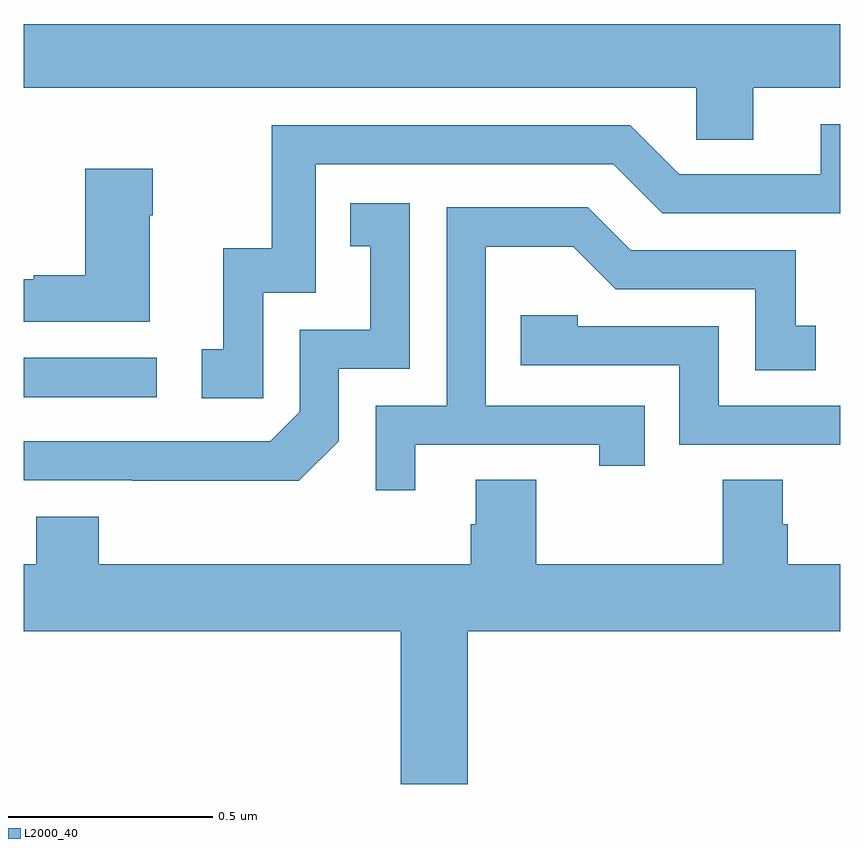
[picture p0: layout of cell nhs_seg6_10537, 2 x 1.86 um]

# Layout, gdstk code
import gdstk
lib = gdstk.Library(unit=1e-6, precision=1e-09)
def R(c, l, rs):  # rectangles x0, y0, x1, y1
    for r in rs: c.add(gdstk.rectangle(r[:2], r[2:], *l))
def P(c, l, *ps):  # polygons
    for p in ps: c.add(gdstk.Polygon(p, *l))
L2000_40 = (2000, 40)

nhs_seg6_10537 = lib.new_cell('nhs_seg6_10537')
R(nhs_seg6_10537, L2000_40, [(248,938.586,248.326,938.682)])
P(nhs_seg6_10537, L2000_40, [(249.787,939.344),(250,939.344),(250,939.5),(248,939.5),(248,939.344),(249.648,939.344),(249.648,939.217),(249.787,939.217)],
  [(248.586,938.841),(248.715,938.841),(248.715,939.156),(249.444,939.156),(249.564,939.036),(250,939.036),(250,939.255),(249.953,939.255),(249.953,939.132),(249.606,939.132),(249.486,939.252),(248.607,939.252),(248.607,938.95),(248.489,938.95),(248.489,938.703),(248.436,938.703),(248.436,938.583),(248.586,938.583)],
  [(248.308,939.032),(248.316,939.032),(248.316,939.145),(248.15,939.145),(248.15,938.885),(248.024,938.885),(248.024,938.875),(248,938.875),(248,938.771),(248.308,938.771)],
  [(248.772,938.478),(248.772,938.655),(248.946,938.655),(248.946,939.061),(248.8,939.061),(248.8,938.955),(248.849,938.955),(248.849,938.751),(248.676,938.751),(248.676,938.55),(248.604,938.478),(248,938.478),(248,938.382),(248.266,938.382),(248.266,938.381),(248.674,938.381)],
  [(248.959,938.469),(249.41,938.469),(249.41,938.418),(249.521,938.418),(249.521,938.565),(249.132,938.565),(249.132,938.954),(249.346,938.954),(249.45,938.85),(249.792,938.85),(249.792,938.652),(249.94,938.652),(249.94,938.761),(249.891,938.761),(249.891,938.946),(249.487,938.946),(249.382,939.051),(249.036,939.051),(249.036,938.565),(248.862,938.565),(248.862,938.358),(248.959,938.358)],
  [(250,938.565),(249.702,938.565),(249.702,938.76),(249.357,938.76),(249.357,938.787),(249.217,938.787),(249.217,938.664),(249.606,938.664),(249.606,938.469),(250,938.469)],
  [(249.712,938.384),(249.712,938.176),(249.255,938.176),(249.255,938.384),(249.107,938.384),(249.107,938.274),(249.095,938.274),(249.095,938.176),(248.183,938.176),(248.183,938.293),(248.03,938.293),(248.03,938.176),(248,938.176),(248,938.012),(248.924,938.012),(248.924,937.638),(249.088,937.638),(249.088,938.012),(250,938.012),(250,938.176),(249.872,938.176),(249.872,938.274),(249.859,938.274),(249.859,938.384)])

lib.write_gds('nhs_seg6_10537.gds')
